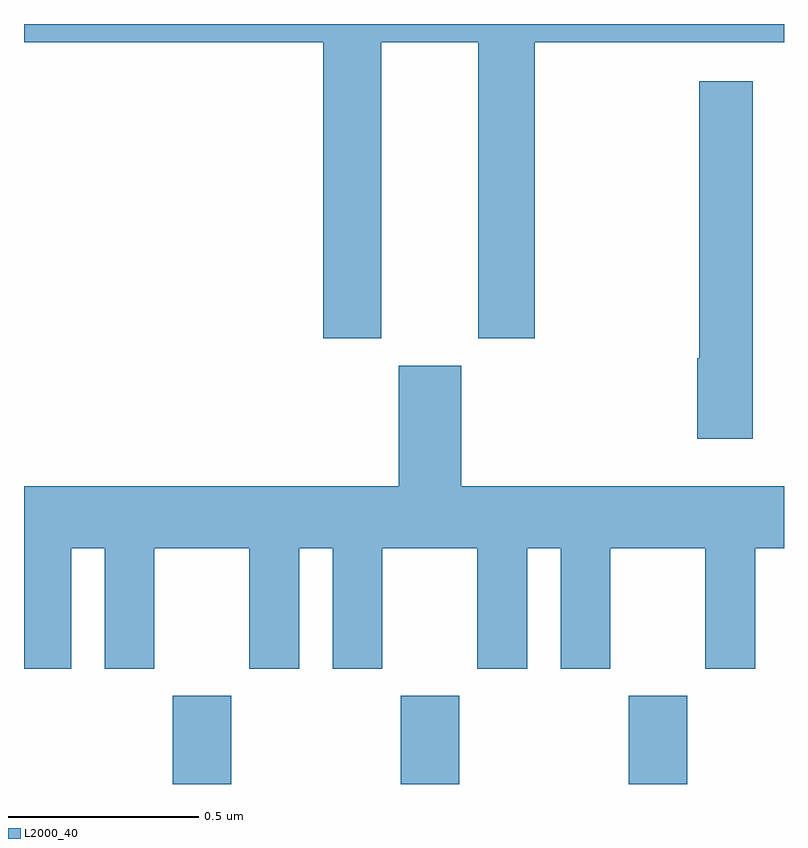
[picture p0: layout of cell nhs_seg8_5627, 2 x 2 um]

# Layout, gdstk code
import gdstk
lib = gdstk.Library(unit=1e-6, precision=1e-09)
def R(c, l, rs):  # rectangles x0, y0, x1, y1
    for r in rs: c.add(gdstk.rectangle(r[:2], r[2:], *l))
def A(c, l, x, y, w, h, nx, ny, dx, dy):  # array of equal rectangles
    R(c, l, [(x+i*dx, y+j*dy, x+i*dx+w, y+j*dy+h) for i in range(nx) for j in range(ny)])
def P(c, l, *ps):  # polygons
    for p in ps: c.add(gdstk.Polygon(p, *l))
L2000_40 = (2000, 40)

nhs_seg8_5627 = lib.new_cell('nhs_seg8_5627')
A(nhs_seg8_5627, L2000_40, 186.391, 1095.9, 0.155, 0.232, 3, 1, 0.6, 0)
P(nhs_seg8_5627, L2000_40, [(186.94,1097.852),(187.196,1097.852),(187.196,1097.073),(187.344,1097.073),(187.344,1097.852),(188,1097.852),(188,1097.9),(186,1097.9),(186,1097.852),(186.788,1097.852),(186.788,1097.073),(186.94,1097.073)],
  [(187.918,1097.749),(187.777,1097.749),(187.777,1097.021),(187.772,1097.021),(187.772,1096.809),(187.918,1096.809)],
  [(186,1096.203),(186.124,1096.203),(186.124,1096.52),(186.212,1096.52),(186.212,1096.203),(186.343,1096.203),(186.343,1096.52),(186.593,1096.52),(186.593,1096.203),(186.724,1096.203),(186.724,1096.52),(186.812,1096.52),(186.812,1096.203),(186.943,1096.203),(186.943,1096.52),(187.193,1096.52),(187.193,1096.203),(187.324,1096.203),(187.324,1096.52),(187.412,1096.52),(187.412,1096.203),(187.543,1096.203),(187.543,1096.52),(187.793,1096.52),(187.793,1096.203),(187.924,1096.203),(187.924,1096.52),(188,1096.52),(188,1096.684),(187.15,1096.684),(187.15,1097.001),(186.986,1097.001),(186.986,1096.684),(186,1096.684)])

lib.write_gds('nhs_seg8_5627.gds')
